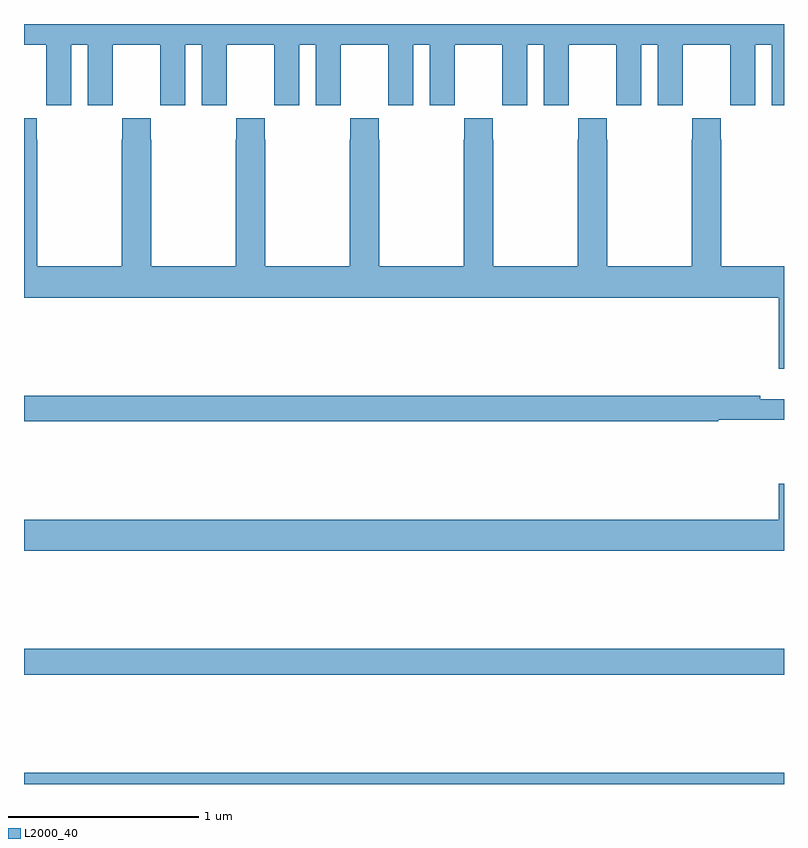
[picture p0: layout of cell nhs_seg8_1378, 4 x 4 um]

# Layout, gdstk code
import gdstk
lib = gdstk.Library(unit=1e-6, precision=1e-09)
def R(c, l, rs):  # rectangles x0, y0, x1, y1
    for r in rs: c.add(gdstk.rectangle(r[:2], r[2:], *l))
def P(c, l, *ps):  # polygons
    for p in ps: c.add(gdstk.Polygon(p, *l))
L2000_40 = (2000, 40)

nhs_seg8_1378 = lib.new_cell('nhs_seg8_1378')
R(nhs_seg8_1378, L2000_40, [(197,1153.9,201,1153.96), (197,1154.476,201,1154.612)])
P(nhs_seg8_1378, L2000_40, [(197.248,1157.792),(197.336,1157.792),(197.336,1157.472),(197.466,1157.472),(197.466,1157.584),(197.467,1157.584),(197.467,1157.792),(197.717,1157.792),(197.717,1157.584),(197.718,1157.584),(197.718,1157.472),(197.848,1157.472),(197.848,1157.792),(197.936,1157.792),(197.936,1157.472),(198.066,1157.472),(198.066,1157.584),(198.067,1157.584),(198.067,1157.792),(198.317,1157.792),(198.317,1157.584),(198.318,1157.584),(198.318,1157.472),(198.448,1157.472),(198.448,1157.792),(198.536,1157.792),(198.536,1157.472),(198.666,1157.472),(198.666,1157.584),(198.667,1157.584),(198.667,1157.792),(198.917,1157.792),(198.917,1157.584),(198.918,1157.584),(198.918,1157.472),(199.048,1157.472),(199.048,1157.792),(199.136,1157.792),(199.136,1157.472),(199.266,1157.472),(199.266,1157.584),(199.267,1157.584),(199.267,1157.792),(199.517,1157.792),(199.517,1157.584),(199.518,1157.584),(199.518,1157.472),(199.648,1157.472),(199.648,1157.792),(199.736,1157.792),(199.736,1157.472),(199.866,1157.472),(199.866,1157.584),(199.867,1157.584),(199.867,1157.792),(200.117,1157.792),(200.117,1157.584),(200.118,1157.584),(200.118,1157.472),(200.248,1157.472),(200.248,1157.792),(200.336,1157.792),(200.336,1157.472),(200.466,1157.472),(200.466,1157.584),(200.467,1157.584),(200.467,1157.792),(200.717,1157.792),(200.717,1157.584),(200.718,1157.584),(200.718,1157.472),(200.848,1157.472),(200.848,1157.792),(200.936,1157.792),(200.936,1157.472),(201,1157.472),(201,1157.9),(197,1157.9),(197,1157.792),(197.117,1157.792),(197.117,1157.584),(197.118,1157.584),(197.118,1157.472),(197.248,1157.472)],
  [(201,1156.624),(200.67,1156.624),(200.67,1157.291),(200.667,1157.291),(200.667,1157.404),(200.517,1157.404),(200.517,1157.291),(200.515,1157.291),(200.515,1156.624),(200.07,1156.624),(200.07,1157.291),(200.067,1157.291),(200.067,1157.404),(199.917,1157.404),(199.917,1157.291),(199.915,1157.291),(199.915,1156.624),(199.47,1156.624),(199.47,1157.291),(199.467,1157.291),(199.467,1157.404),(199.317,1157.404),(199.317,1157.291),(199.315,1157.291),(199.315,1156.624),(198.87,1156.624),(198.87,1157.291),(198.867,1157.291),(198.867,1157.404),(198.717,1157.404),(198.717,1157.291),(198.715,1157.291),(198.715,1156.624),(198.27,1156.624),(198.27,1157.291),(198.267,1157.291),(198.267,1157.404),(198.117,1157.404),(198.117,1157.291),(198.115,1157.291),(198.115,1156.624),(197.67,1156.624),(197.67,1157.291),(197.667,1157.291),(197.667,1157.404),(197.517,1157.404),(197.517,1157.291),(197.515,1157.291),(197.515,1156.624),(197.07,1156.624),(197.07,1157.291),(197.067,1157.291),(197.067,1157.404),(197,1157.404),(197,1156.46),(200.972,1156.46),(200.972,1156.086),(201,1156.086)],
  [(200.655,1155.816),(201,1155.816),(201,1155.925),(200.876,1155.925),(200.876,1155.944),(197,1155.944),(197,1155.808),(200.655,1155.808)],
  [(201,1155.481),(200.972,1155.481),(200.972,1155.292),(197,1155.292),(197,1155.128),(201,1155.128)])

lib.write_gds('nhs_seg8_1378.gds')
